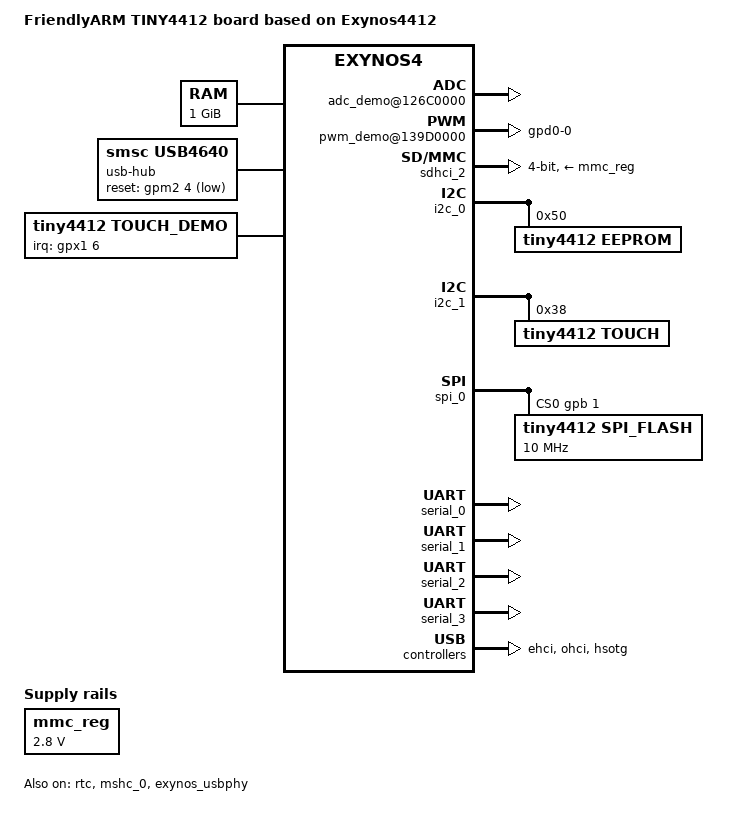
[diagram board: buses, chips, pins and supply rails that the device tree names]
/*
 * FriendlyARM's Exynos4412 based TINY4412 board device tree source
 *
 * Copyright (c) 2013 Alex Ling <kasimling@gmail.com>
 *
 * Device tree source file for FriendlyARM's TINY4412 board which is based on
 * Samsung's Exynos4412 SoC.
 *
 * This program is free software; you can redistribute it and/or modify
 * it under the terms of the GNU General Public License version 2 as
 * published by the Free Software Foundation.
*/

/dts-v1/;
#include "exynos4412.dtsi"
#include <dt-bindings/gpio/gpio.h>
#include <dt-bindings/usb4640/usb4640.h>

/ {
	model = "FriendlyARM TINY4412 board based on Exynos4412";
	compatible = "friendlyarm,tiny4412", "samsung,exynos4412", "samsung,exynos4";

	chosen {
		stdout-path = &serial_0;
		bootargs = "root=/dev/ram0 rw rootfstype=ext4 console=ttySAC0,115200 ethmac=13:14:52:52:51:7F init=/linuxrc earlyprintk";
	};

	memory {
		reg = <0x40000000 0x40000000>;
	};

	leds {
		compatible = "gpio-leds";
		status = "disable";

		led1 {
			label = "led1";
			gpios = <&gpm4 0 GPIO_ACTIVE_LOW>;
			default-state = "off";
			linux,default-trigger = "heartbeat";
		};

		led2 {
			label = "led2";
			gpios = <&gpm4 1 GPIO_ACTIVE_LOW>;
			default-state = "off";
		};

		led3 {
			label = "led3";
			gpios = <&gpm4 2 GPIO_ACTIVE_LOW>;
			default-state = "off";
		};

		led4 {
			label = "led4";
			gpios = <&gpm4 3 GPIO_ACTIVE_LOW>;
			default-state = "off";
			linux,default-trigger = "mmc0";
		};
	};

	fixed-rate-clocks {
		xxti {
			compatible = "samsung,clock-xxti";
			clock-frequency = <0>;
		};

		xusbxti {
			compatible = "samsung,clock-xusbxti";
			clock-frequency = <24000000>;
		};
	};

    usb-hub {
    	compatible = "smsc,usb4640";
    	reset-gpios = <&gpm2 4 GPIO_ACTIVE_LOW>;
    	initial-mode = <USB4640_MODE_HUB>;
    };

    regulators {
    	compatible = "simple-bus";
    	#address-cells = <1>;
    	#size-cells = <0>;

    	mmc_reg: regulator@0 {
    		compatible = "regulator-fixed";
    		reg = <0>;
    		regulator-name = "VMEM_VDD_2.8V";
    		regulator-min-microvolt = <2800000>;
    		regulator-max-microvolt = <2800000>;
    	};
    };

    interrupt_demo: interrupt_demo {
            compatible         = "tiny4412,interrupt_demo";
            tiny4412,int_gpio1 = <&gpx3 2 GPIO_ACTIVE_HIGH>;
            tiny4412,int_gpio2 = <&gpx3 3 GPIO_ACTIVE_HIGH>;
            tiny4412,int_gpio3 = <&gpx3 4 GPIO_ACTIVE_HIGH>;
            tiny4412,int_gpio4 = <&gpx3 5 GPIO_ACTIVE_HIGH>;
    };

    adc_demo@126C0000 {
		compatible	= "tiny4412,adc_demo";
		reg = <0x126C 0x20>;
		clocks = <&clock CLK_TSADC>;
		clock-names = "timers";
		interrupt-parent = <&combiner>;
		interrupts = <10 3>;
    };

    led_pin {
		compatible	= "tiny4412,led_demo";
		pinctrl-names = "led_demo";
		pinctrl-0 = <&led_demo>;
		tiny4412,int_gpio1 = <&gpm4 0 GPIO_ACTIVE_HIGH>;
		tiny4412,int_gpio2 = <&gpm4 1 GPIO_ACTIVE_HIGH>;
		tiny4412,int_gpio3 = <&gpm4 2 GPIO_ACTIVE_HIGH>;
		tiny4412,int_gpio4 = <&gpm4 3 GPIO_ACTIVE_HIGH>;
	};

	pwm_demo@139D0000 {
		compatible	= "tiny4412,pwm_demo";
		reg = <0x139D0000 0x14>;
		pinctrl-names = "pwm-pin";
		pinctrl-0 = <&pwm_pin>;
		clock-names = "timers";
	};

	wdt_demo@10060000 {
		compatible = "tiny4412,wdt_demo";
		reg = <0x10060000 0x100>;
		interrupts = <0 43 0>;
		clocks = <&clock CLK_WDT>;
		clock-names = "watchdog";
	};

	backlight_demo@139D0000 {
		compatible = "tiny4412,backlight_demo";
		reg = <0x139D0000 0x14>;
		tiny4412,backlight = <&gpx1 2 GPIO_ACTIVE_HIGH>;
		pinctrl-names = "backlight_out","backlight_in";
		pinctrl-0 = <&backlight_out>;
		pinctrl-1 = <&backlight_in>;
		interrupts = <0 40 0>;
		clocks = <&clock CLK_PWM>;
		clock-names = "timers";
	};

	lcd_demo@11C00000 {
		compatible = "tiny4412,lcd_demo";
		reg = <0x11C00000 0x20c0 0x10010210 0x08 0x10023c80 0x04 0x1003c000 0x1000>;
		pinctrl-names = "default";
		pinctrl-0 = <&lcd_demo>;
	};

	touch_demo {
		compatible = "tiny4412,touch_demo";
		interrupts = <6 0>;
		interrupt-parent = <&gpx1>;
		status = "okay";
	};

};

&pinctrl_0 {
        lcd_demo: lcd{
                samsung,pins = "gpf0-0", "gpf0-1", "gpf0-2", "gpf0-3", "gpf0-4", "gpf0-5", "gpf0-6","gpf0-7", "gpf1-0", "gpf1-1", "gpf1-2", "gpf1-3", "gpf1-4", "gpf1-5", "gpf1-6","gpf1-7", "gpf2-0", "gpf2-1", "gpf2-2", "gpf2-3", "gpf2-4", "gpf2-5", "gpf2-6","gpf2-7", "gpf3-0", "gpf3-1", "gpf3-2", "gpf3-3";
                samsung,pin-function = <0x2>;
                samsung,pin-pud = <0x0>;
                samsung,pin-drv = <0x0>;
        };
};

&pinctrl_1{
	led_demo: led{
		samsung,pins = "gpm4-0", "gpm4-1", "gpm4-2", "gpm4-3";
		samsung,pin-function = <0x1>;
		samsung,pin-pud = <0x0>;
		samsung,pin-drv = <0x0>;
	};

	backlight_out: backlight_out {
		samsung,pins = "gpx1-2";
		samsung,pin-function = <0x1>;
		samsung,pin-pud = <0x0>;
		samsung,pin-drv = <0x0>;
	};

	backlight_in: backlight_in {
		samsung,pins = "gpx1-2";
		samsung,pin-function = <0x0>;
		samsung,pin-pud = <0x0>;
		samsung,pin-drv = <0x0>;
	};

	pwm_pin: pwm_pin {
		samsung,pins = "gpd0-0";
		samsung,pin-function = <2>;
		samsung,pin-pud = <0>;
		samsung,pin-drv=<0>;
	};
};

&rtc {
	status = "okay";
};

&sdhci_2 {
	bus-width = <4>;
	pinctrl-0 = <&sd2_clk &sd2_cmd &sd2_cd &sd2_bus4>;
	pinctrl-names = "default";
	vmmc-supply = <&mmc_reg>;
	status = "okay";
};

&mshc_0 {
	num-slots = <1>;
	broken-cd;
	non-removable;
	card-detect-delay = <200>;
	vmmc-supply = <&mmc_reg>;
	clock-frequency = <400000000>;
	samsung,dw-mshc-ciu-div = <0>;
	samsung,dw-mshc-sdr-timing = <2 3>;
	samsung,dw-mshc-ddr-timing = <1 2>;
	pinctrl-0 = <&sd4_clk &sd4_cmd &sd4_bus4 &sd4_bus8>;
	pinctrl-names = "default";
	status = "okay";
	bus-width = <8>;
	cap-mmc-highspeed;
};

&i2c_0 {
	eeprom@50 {
		compatible = "tiny4412,eeprom";
		reg = <0x50>;
	};
};

&i2c_1 {
	status = "okay";
	touch@38{
		compatible = "tiny4412,touch";
		reg = <0x38>;
	};
};

&spi_0 {
	status = "okay"	;
	cs-gpios = <&gpb 1 GPIO_ACTIVE_HIGH>;
	spi_flash@0 {
		compatible = "tiny4412,spi_flash";
		spi-max-frequency = <10000000>;
		reg = <0>;
		controller-data {
			samsung,spi-feedback-delay = <0>;
		};
	};
};

&serial_0 {
	status = "okay";
};

&serial_1 {
	status = "okay";
};

&serial_2 {
	status = "okay";
};

&serial_3 {
	status = "okay";
};

&exynos_usbphy {
	status = "okay";
};

&ehci {
	status = "okay";
	port@0 {
		status = "okay";
	};
	port@1 {
		status = "okay";
	};
	port@2 {
		status = "okay";
	};
};

&ohci {
	status = "okay";
	port@0 {
		status = "okay";
	};
};

&hsotg {
	status = "okay";
};
